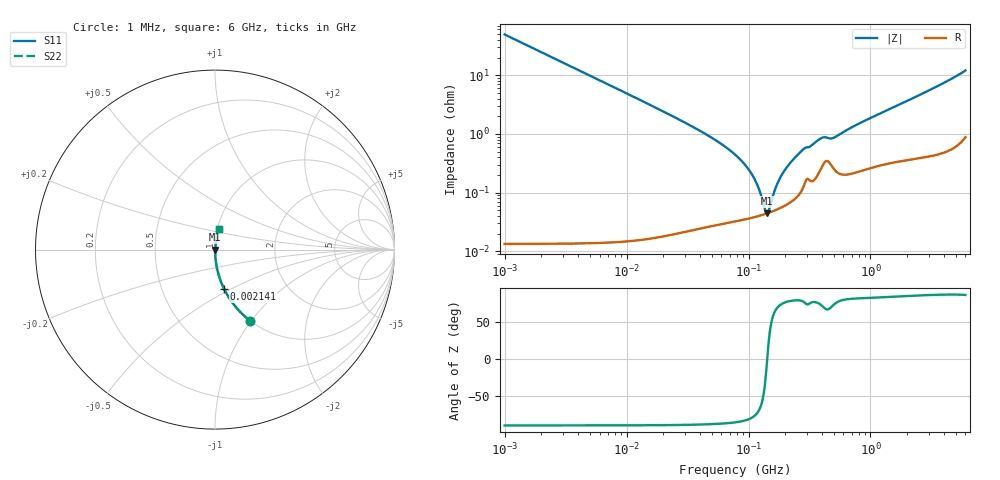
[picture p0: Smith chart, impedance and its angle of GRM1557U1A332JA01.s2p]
!Murata Part Number: GRM1557U1A332JA01
!These Parameters are Measured in Series Mode Connection
!Data Generated on Mar 30, 2021
!  o--ll--o
!Port1  Port2
!  o------o
!Operation Temp=25[degC], DC Bias Voltage=0[V]
!Freq. Start=1000[kHz] Stop=6[GHz] 401[Steps]
# Hz S RI R 50
!Freq.(Hz) S11(Real) S11(Imag) S21(Real) S21(Imag) S12(Real) S12(Imag) S22(Real) S22(Imag)
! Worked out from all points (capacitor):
!   401 points, 1 MHz to 6 GHz, reference 50 ohm
!   read as one part in series: C = 3.22 nF near 1.044 MHz
!   lowest |Z| = 44.5 mohm at 142.4 MHz (marker M1)
!   series resonance near 142.3 MHz, so ESL is about 390 pH
!   S11 on the Smith chart (normalised r, x): 1 MHz: 1.00, -0.99; 2.141 MHz: 1.00, -0.46; 6 GHz: 1.02, +0.24
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1000000  0.1959 -0.3968  0.8041 0.3968  0.8041 0.3968  0.1959 -0.3968
2140860  0.0505 -0.2188  0.9495 0.2188  0.9495 0.2188  0.0505 -0.2188
4293785  0.0131 -0.1133  0.9869 0.1133  0.9869 0.1133  0.0131 -0.1133
1.843659e7  0.000863 -0.0262  0.9991 0.0262  0.9991 0.0262  0.000863 -0.0262
4.596069e7  0.000351 -0.00955  0.9996 0.00955  0.9996 0.00955  0.000351 -0.00955
7.745967e7  0.000342 -0.00444  0.9997 0.00444  0.9997 0.00444  0.000342 -0.00444
9.218041e7  0.000357 -0.00308  0.9996 0.00308  0.9996 0.00308  0.000357 -0.00308
1.073387e8  0.000378 -0.00197  0.9996 0.00197  0.9996 0.00197  0.000378 -0.00197
1.196694e8  0.000399 -0.0012  0.9996 0.0012  0.9996 0.0012  0.000399 -0.0012
1.363501e8  0.000432 -0.000296  0.9996 0.000296  0.9996 0.000296  0.000432 -0.000296
1.424119e8  0.000445 3.3e-06  0.9996 -3.3e-06  0.9996 -3.3e-06  0.000445 3.3e-06
1.487431e8  0.00046 0.000303  0.9995 -0.000303  0.9995 -0.000303  0.00046 0.000303
1.622626e8  0.000494 0.000907  0.9995 -0.000907  0.9995 -0.000907  0.000494 0.000907
1.732027e8  0.000524 0.00137  0.9995 -0.00137  0.9995 -0.00137  0.000524 0.00137
1.973453e8  0.000601 0.00231  0.9994 -0.00231  0.9994 -0.00231  0.000601 0.00231
2.734687e8  0.00112 0.00506  0.9989 -0.00506  0.9989 -0.00506  0.00112 0.00506
3.325952e8  0.0016 0.00628  0.9984 -0.00628  0.9984 -0.00628  0.0016 0.00628
4.045054e8  0.00295 0.00813  0.9971 -0.00813  0.9971 -0.00813  0.00295 0.00813
5.027802e8  0.00257 0.00825  0.9974 -0.00825  0.9974 -0.00825  0.00257 0.00825
7.767579e8  0.00243 0.0142  0.9976 -0.0142  0.9976 -0.0142  0.00243 0.0142
1.428092e9  0.00381 0.026  0.9962 -0.026  0.9962 -0.026  0.00381 0.026
6e9  0.0225 0.1161  0.9775 -0.1161  0.9775 -0.1161  0.0225 0.1161
